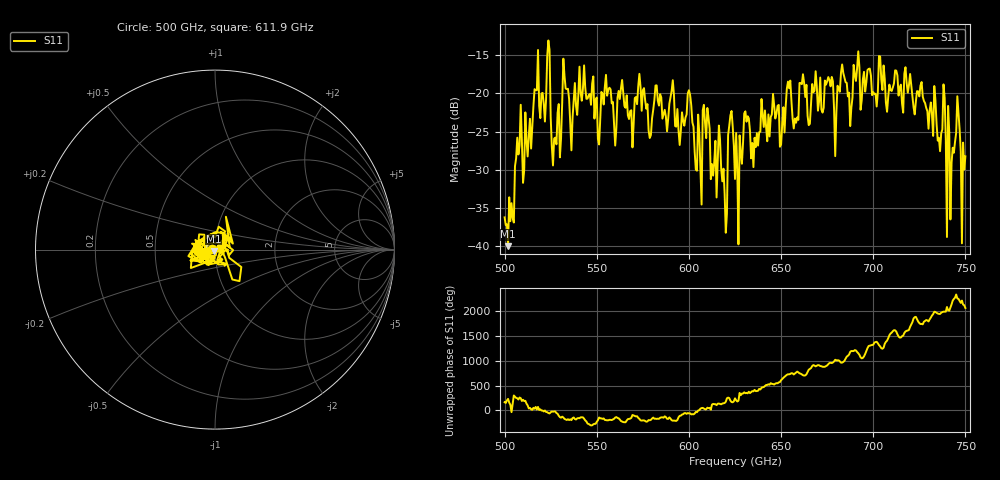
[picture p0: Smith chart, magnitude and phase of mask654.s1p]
!Created with skrf (http://scikit-rf.org).
# GHz S MA R 50.0
!freq magS11 angS11
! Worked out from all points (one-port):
!   401 points, 500 GHz to 750 GHz, reference 50 ohm
!   lowest |S11| = -40.0 dB at 501.9 GHz (marker M1), VSWR 1.02, Z = 49.4 - j0.791 ohm
!   |S11| at or under -10 dB: start of sweep to end of sweep
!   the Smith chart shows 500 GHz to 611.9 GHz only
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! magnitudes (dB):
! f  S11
! 500 GHz  -36.2
! 501.9 GHz  -40.0
! 507.5 GHz  -28.0
! 511.2 GHz  -22.5
! 516.9 GHz  -19.6
! 523.8 GHz  -13.1
! 526.9 GHz  -25.9
! 531.2 GHz  -21.2
! 562.5 GHz  -20.7
! 579.4 GHz  -25.4
! 590.6 GHz  -19.7
! 593.8 GHz  -22.0
! 600.6 GHz  -20.2
! 605.6 GHz  -25.2
! 609.4 GHz  -25.9
! 619.4 GHz  -33.1
! 622.5 GHz  -22.9
! 625 GHz  -31.2
! 656.2 GHz  -23.3
! 680 GHz  -22.5
! 683.8 GHz  -17.3
! 687.5 GHz  -24.3
! 690.6 GHz  -18.4
! 718.8 GHz  -19.9
! 738.1 GHz  -18.8
! 741.2 GHz  -25.2
! 745.6 GHz  -20.4
! 750 GHz  -28.2
